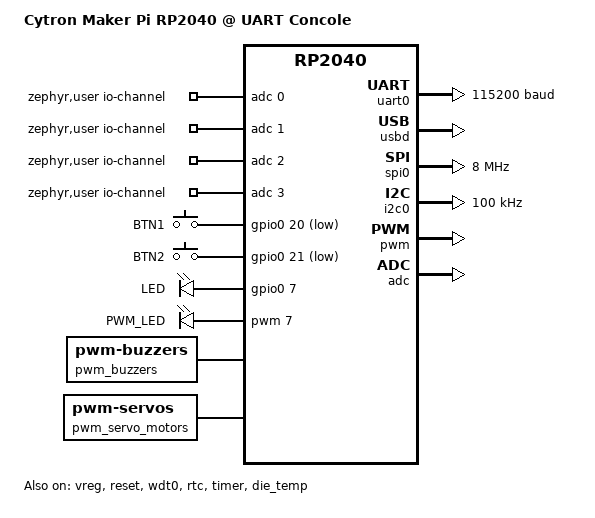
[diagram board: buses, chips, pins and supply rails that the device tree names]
/*
 * SPDX-FileCopyrightText: Copyright (c) 2023-2026 TiaC Systems
 * SPDX-License-Identifier: Apache-2.0
 */

/dts-v1/;

#include <freq.h>
#include <mem.h>

#include <raspberrypi/rpi_pico/rp2040.dtsi>
#include <raspberrypi/partitions_2M_default.dtsi>

#include <zephyr/dt-bindings/clock/rpi_pico_rp2040_clock.h>
#include <zephyr/dt-bindings/regulator/rpi_pico.h>

#include <zephyr/dt-bindings/gpio/gpio.h>
#include <zephyr/dt-bindings/i2c/i2c.h>
#include <zephyr/dt-bindings/led/led.h>
#include <zephyr/dt-bindings/pwm/pwm.h>

#include <zephyr/dt-bindings/input/input-event-codes.h>
#include <zephyr/dt-bindings/lvgl/lvgl.h>

#include "seeed_grove_connectors.dtsi"
#include "cytron_maker_pi_rp2040-pinctrl.dtsi"

/ {
	model = "Cytron Maker Pi RP2040 @ UART Concole";
	compatible = "cytron,maker-pi-rp2040",
		     "cytron,maker-pi-rp2040-uartcons";

	chosen {
		zephyr,sram = &sram0;
		zephyr,flash = &flash0;
		zephyr,flash-controller = &ssi;
		zephyr,code-partition = &code_partition;
		zephyr,console = &uart0;
		zephyr,shell-uart = &uart0;
	};

	aliases {
		watchdog0 = &wdt0;
		sw0 = &btn0;
		sw1 = &btn1;
		led0 = &led0;
		pwm-led0 = &pwm_led0;
		pwm-buzzer0 = &pwm_buzzer0;
		led-strip = &led_strip;
		pwm-servo0 = &pwm_servo0;
		pwm-servo1 = &pwm_servo1;
		pwm-servo2 = &pwm_servo2;
		pwm-servo3 = &pwm_servo3;
	};

	zephyr,user {
		io-channels = <&adc 0>, <&adc 1>, <&adc 2>, <&adc 3>;
	};

	lvgl_keypad: lvgl-keypad {
		compatible = "zephyr,lvgl-keypad-input";
		input = <&gpio_keys>;
		input-codes = <INPUT_KEY_0 INPUT_KEY_1>;
		lvgl-codes = <LV_KEY_ENTER LV_KEY_NEXT>;
	};

	gpio_keys: gpio_keys {
		compatible = "gpio-keys";

		btn0: btn_0 {
			gpios = <&gpio0 20 GPIO_ACTIVE_LOW>;
			zephyr,code = <INPUT_KEY_0>;
			label = "BTN1";
		};
		btn1: btn_1 {
			gpios = <&gpio0 21 GPIO_ACTIVE_LOW>;
			zephyr,code = <INPUT_KEY_1>;
			label = "BTN2";
		};
	};

	gpio_leds: gpio_leds {
		compatible = "gpio-leds";

		led0: led_0 {
			gpios = <&gpio0 7 GPIO_ACTIVE_HIGH>;
			label = "LED";
		};
	};

	pwm_leds: pwm_leds {
		compatible = "pwm-leds";

		pwm_led0: pwm_led_0 {
			pwms = <&pwm 7 PWM_MSEC(20) PWM_POLARITY_NORMAL>;
			label = "PWM_LED";
		};
	};

	pwm_buzzers {
		compatible = "pwm-buzzers";

		pwm_buzzer0: pwm_buzzer0 {
			pwms = <&pwm 6 PWM_HZ(880) PWM_POLARITY_NORMAL>;
			label = "PWM_BUZZER";
		};
	};

	pwm_servo_motors {
		compatible = "pwm-servos";

		pwm_servo0: pwm_servo_0 {
			pwms = <&pwm 12 PWM_MSEC(20) PWM_POLARITY_NORMAL>;
			label = "PWM_SERVO_0";
		};
		pwm_servo1: pwm_servo_1 {
			pwms = <&pwm 13 PWM_MSEC(20) PWM_POLARITY_NORMAL>;
			label = "PWM_SERVO_1";
		};
		pwm_servo2: pwm_servo_2 {
			pwms = <&pwm 14 PWM_MSEC(20) PWM_POLARITY_NORMAL>;
			label = "PWM_SERVO_2";
		};
		pwm_servo3: pwm_servo_3 {
			pwms = <&pwm 15 PWM_MSEC(20) PWM_POLARITY_NORMAL>;
			label = "PWM_SERVO_3";
		};
	};
};

&flash0 {
	status = "okay";
	reg = <0x10000000 DT_SIZE_M(2)>;
	ranges = <0x0 0x10000000 DT_SIZE_M(2)>;
};

&clocks {
	status = "okay";
	pinctrl-0 = <&clocks_default>;
	pinctrl-names = "default";
};

&vreg {
	status = "okay";
	regulator-always-on;
	regulator-allowed-modes = <REGULATOR_RPI_PICO_MODE_NORMAL>;
};

&reset {
	status = "okay";
};

&wdt0 {
	status = "okay";
};

&rtc {
	status = "okay";
	clocks = <&clocks RPI_PICO_CLKID_CLK_RTC>;
};

&timer {
	status = "okay";
};

&dma {
	status = "okay";
};

&die_temp {
	status = "okay";
	friendly-name = "RP2040 chip temperature";
};

&uart0 {
	status = "okay";
	pinctrl-0 = <&uart0_default>;
	pinctrl-names = "default";
	current-speed = <115200>;
};

zephyr_udc0: &usbd {
	status = "okay";
};

&spi0 {
	status = "okay";
	pinctrl-0 = <&spi0_default>;
	pinctrl-names = "default";
	clock-frequency = <DT_FREQ_M(8)>;
};

&i2c0 {
	status = "okay";
	pinctrl-0 = <&i2c0_default>;
	pinctrl-names = "default";
	clock-frequency = <I2C_BITRATE_STANDARD>;
};

&i2c1 {
	status = "disabled";
	pinctrl-0 = <&i2c1_default>;
	pinctrl-names = "default";
	clock-frequency = <I2C_BITRATE_STANDARD>;
};

&pwm {
	status = "okay";
	pinctrl-0 = <&pwm_default>;
	pinctrl-names = "default";
	divider-int-3 = <255>;	/* buzzer: PWM3CHA (6) */
	divider-frac-3 = <15>;	/* led:    PWM3CHB (7) */
	divider-int-6 = <255>;	/* servo:  PWM6CHA/B (12/13) */
	divider-int-7 = <255>;	/* servo:  PWM7CHA/B (14/15) */
};

&adc {
	status = "okay";
	pinctrl-0 = <&adc_default>;
	pinctrl-names = "default";
};

&pio0 {
	status = "okay";

	pio-ws2812 {
		compatible = "worldsemi,ws2812-rpi_pico-pio";
		status = "okay";

		pinctrl-0 = <&pio0_ws2812_default>;
		pinctrl-names = "default";

		/* HI: 0x3F0: 1111110000: 0.750 us high and 0.500 us low */
		/* LO: 0x380: 1110000000: 0.375 us high and 0.875 us low */
		bit-waveform = <3>, <3>, <4>;

		led_strip: ws2812 {
			status = "okay";

			chain-length = <2>;
			color-mapping = <LED_COLOR_ID_GREEN
					 LED_COLOR_ID_RED
					 LED_COLOR_ID_BLUE>;

			/* PIO0:OUT @ GP18 and Tbit = 1.25 us / 10 */
			gpios = <&gpio0 18 GPIO_ACTIVE_HIGH>;
			frequency = <DT_FREQ_K(800)>;
			reset-delay = <280>;
		};
	};
};

&gpio0 {
	status = "okay";
	/* namespace and positions without wired bits */
	gpio-reserved-ranges = <19 1>, <23 3>;
	gpio-line-names =
		"GROVE13_TX0",		/* GP0 */
		"GROVE14_RX0",		/* GP1 */
		"GROVE23_SCK0",		/* GP2 */
		"GROVE24_SDO0",		/* GP3 */
		"GROVE33_SDI0",		/* GP4 */
		"GROVE34_CSN0",		/* GP5 */
		"GROVE53",		/* GP6 */
		"GROVE73ULED0",		/* GP7 */
		"DCM1A_PWM8",		/* GP8 */
		"DCM1B_PWM9",		/* GP9 */
		"DCM2A_PWM10",		/* GP10 */
		"DCM2B_PWM11",		/* GP11 */
		"SRVM1_PWM12",		/* GP12 */
		"SRVM2_PWM13",		/* GP13 */
		"SRVM3_PWM14",		/* GP14 */
		"SRVM4_PWM15",		/* GP15 */
		"GROVE43_SDA0",		/* GP16 */
		"GROVE44_SCL0",		/* GP17 */
		"RGB_PIO0",		/* GP18 */
		"",	 /* not connected, GP19 */
		"UBTN0",		/* GP20 */
		"UBTN1",		/* GP21 */
		"BUZZER_PWM6",		/* GP22 */
		"",	 /* not connected, GP23 */
		"",	 /* not connected, GP24 */
		"",	 /* not connected, GP25 */
		"GROVE54_ADC0",		/* GP26 */
		"GROVE64_ADC1",		/* GP27 */
		"GROVE74_ADC2",		/* GP28 */
		"VMOTOR_ADC3";		/* GP29 */
};
